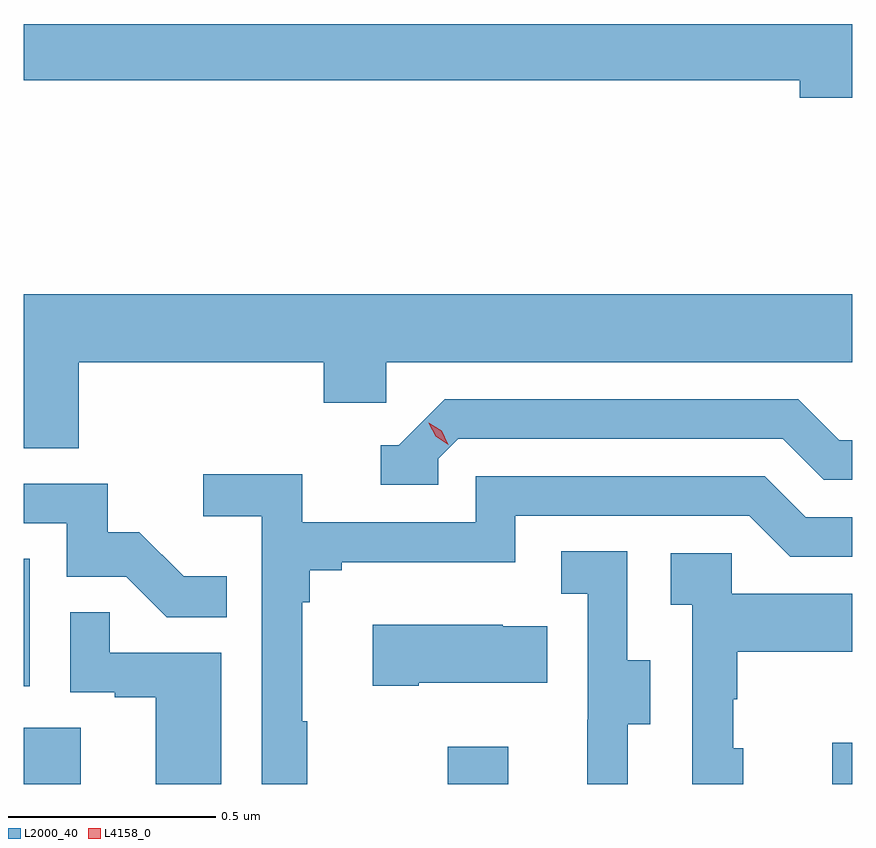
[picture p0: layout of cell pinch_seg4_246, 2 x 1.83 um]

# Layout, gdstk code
import gdstk
lib = gdstk.Library(unit=1e-6, precision=1e-09)
def R(c, l, rs):  # rectangles x0, y0, x1, y1
    for r in rs: c.add(gdstk.rectangle(r[:2], r[2:], *l))
def P(c, l, *ps):  # polygons
    for p in ps: c.add(gdstk.Polygon(p, *l))
L2000_40 = (2000, 40)
L4158_0 = (4158, 0)

pinch_seg4_246 = lib.new_cell('pinch_seg4_246')
R(pinch_seg4_246, L2000_40, [(911.389,827.77,911.527,827.906), (912.412,827.77,912.559,827.86), (913.34,827.77,913.389,827.869), (911.389,828.006,911.404,828.313)])
P(pinch_seg4_246, L2000_40, [(913.389,829.604),(911.389,829.604),(911.389,829.468),(913.262,829.468),(913.262,829.426),(913.389,829.426)],
  [(911.522,828.788),(912.113,828.788),(912.113,828.69),(912.264,828.69),(912.264,828.788),(913.389,828.788),(913.389,828.952),(911.389,828.952),(911.389,828.58),(911.522,828.58)],
  [(912.39,828.555),(912.438,828.603),(913.221,828.603),(913.32,828.504),(913.389,828.504),(913.389,828.6),(913.357,828.6),(913.258,828.699),(912.405,828.699),(912.294,828.588),(912.251,828.588),(912.251,828.492),(912.39,828.492)],
  [(912.073,827.921),(912.061,827.921),(912.061,828.209),(912.08,828.209),(912.08,828.286),(912.157,828.286),(912.157,828.305),(912.576,828.305),(912.576,828.417),(913.14,828.417),(913.239,828.318),(913.389,828.318),(913.389,828.414),(913.276,828.414),(913.177,828.513),(912.48,828.513),(912.48,828.402),(912.062,828.402),(912.062,828.518),(911.823,828.518),(911.823,828.416),(911.964,828.416),(911.964,827.77),(912.073,827.77)],
  [(911.879,828.271),(911.775,828.271),(911.668,828.378),(911.592,828.378),(911.592,828.495),(911.389,828.495),(911.389,828.399),(911.493,828.399),(911.493,828.27),(911.637,828.27),(911.735,828.172),(911.879,828.172)],
  [(912.847,827.914),(912.901,827.914),(912.901,828.069),(912.846,828.069),(912.846,828.332),(912.687,828.332),(912.687,828.229),(912.75,828.229),(912.75,827.925),(912.749,827.925),(912.749,827.77),(912.847,827.77)],
  [(913.126,827.856),(913.101,827.856),(913.101,827.975),(913.111,827.975),(913.111,828.089),(913.389,828.089),(913.389,828.229),(913.098,828.229),(913.098,828.327),(912.951,828.327),(912.951,828.203),(913.002,828.203),(913.002,827.77),(913.126,827.77)],
  [(911.866,828.087),(911.597,828.087),(911.597,828.185),(911.502,828.185),(911.502,827.991),(911.609,827.991),(911.609,827.979),(911.708,827.979),(911.708,827.77),(911.866,827.77)],
  [(912.343,828.014),(912.653,828.014),(912.653,828.151),(912.545,828.151),(912.545,828.154),(912.231,828.154),(912.231,828.007),(912.343,828.007)])
P(pinch_seg4_246, L4158_0, [(912.414,828.589),(912.383,828.609),(912.367,828.641),(912.367,828.642),(912.367,828.642),(912.398,828.622),(912.414,828.589),(912.414,828.589)])

lib.write_gds('pinch_seg4_246.gds')
